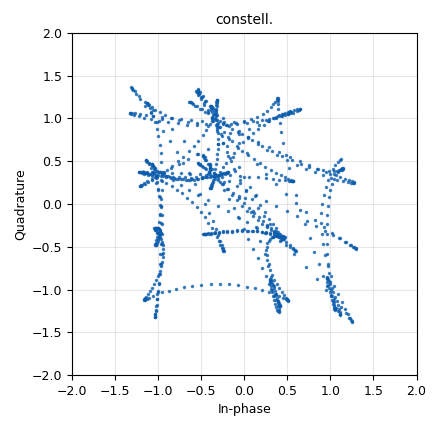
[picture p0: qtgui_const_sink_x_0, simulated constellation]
<?xml version='1.0' encoding='utf-8'?>
<?grc format='1' created='3.7.10'?>
<flow_graph>
<block>
<key>options</key>
<param><key>id</key><value>top_block</value></param>
<param><key>generate_options</key><value>qt_gui</value></param>
</block>
<block>
<key>variable</key>
<param><key>id</key><value>addr</value></param>
<param><key>value</key><value>"192.168.1.100"</value></param>
</block>
<block>
<key>variable_constellation</key>
<param><key>id</key><value>bpsk</value></param>
<param><key>const_points</key><value>[-1,1]</value></param>
<param><key>type</key><value>calcdist</value></param>
<param><key>dims</key><value>1</value></param>
<param><key>rot_sym</key><value>2</value></param>
<param><key>precision</key><value>8</value></param>
<param><key>sym_map</key><value>[0, 1,]</value></param>
</block>
<block>
<key>variable_qtgui_range</key>
<param><key>id</key><value>freq</value></param>
<param><key>value</key><value>0</value></param>
<param><key>_enabled</key><value>0</value></param>
<param><key>label</key><value>f</value></param>
<param><key>orient</key><value>Qt.Horizontal</value></param>
<param><key>start</key><value>0</value></param>
<param><key>step</key><value>0.100</value></param>
<param><key>stop</key><value>2</value></param>
</block>
<block>
<key>variable_qtgui_range</key>
<param><key>id</key><value>noise_volt</value></param>
<param><key>value</key><value>0.000100</value></param>
<param><key>_enabled</key><value>0</value></param>
<param><key>label</key><value>noise_voltage</value></param>
<param><key>orient</key><value>Qt.Horizontal</value></param>
<param><key>start</key><value>0</value></param>
<param><key>step</key><value>0.01</value></param>
<param><key>stop</key><value>1</value></param>
</block>
<block>
<key>variable_qtgui_check_box</key>
<param><key>id</key><value>ptt</value></param>
<param><key>value</key><value>False</value></param>
<param><key>false</key><value>False</value></param>
<param><key>gui_hint</key><value>0,0,1,1</value></param>
<param><key>true</key><value>True</value></param>
<param><key>type</key><value>int</value></param>
</block>
<block>
<key>variable_constellation</key>
<param><key>id</key><value>qam</value></param>
<param><key>const_points</key><value>[(-3-3j),(-1-3j),(1-3j),(3-3j),(-3-1j),(-1-1j),(1-1j),(3-1j),(-3+1j),(-1+1j),(1+1j),(3+1j),(-3+3j),(-1+3j),(1+3j),(3+3j)]</value></param>
<param><key>type</key><value>calcdist</value></param>
<param><key>dims</key><value>1</value></param>
<param><key>rot_sym</key><value>4</value></param>
<param><key>precision</key><value>8</value></param>
<param><key>sym_map</key><value>[0, 4, 12, 8, 1, 5, 13, 9, 3, 7, 15, 11, 2, 6, 14, 10]</value></param>
</block>
<block>
<key>variable_constellation_rect</key>
<param><key>id</key><value>qpsk</value></param>
<param><key>const_points</key><value>[-0.0707-0.0707j, -0.0707+0.0707j, 0.0707+0.0707j, 0.0707-0.0707j]</value></param>
<param><key>_enabled</key><value>0</value></param>
<param><key>imag_sect</key><value>2</value></param>
<param><key>real_sect</key><value>2</value></param>
<param><key>rot_sym</key><value>4</value></param>
<param><key>sym_map</key><value>[0, 1, 3, 2]</value></param>
<param><key>w_imag_sect</key><value>1</value></param>
<param><key>w_real_sect</key><value>1</value></param>
</block>
<block>
<key>variable_constellation</key>
<param><key>id</key><value>qpsk_0</value></param>
<param><key>const_points</key><value>[-1-1j, -1+1j, 1+1j, 1-1j]</value></param>
<param><key>type</key><value>calcdist</value></param>
<param><key>dims</key><value>1</value></param>
<param><key>rot_sym</key><value>4</value></param>
<param><key>precision</key><value>8</value></param>
<param><key>sym_map</key><value>[0, 1, 3, 2]</value></param>
</block>
<block>
<key>variable</key>
<param><key>id</key><value>rx_samp_rate</value></param>
<param><key>_enabled</key><value>0</value></param>
<param><key>value</key><value>100000</value></param>
</block>
<block>
<key>variable</key>
<param><key>id</key><value>samp_rate_0</value></param>
<param><key>_enabled</key><value>0</value></param>
<param><key>value</key><value>1000000</value></param>
</block>
<block>
<key>variable</key>
<param><key>id</key><value>tx_samp_rate</value></param>
<param><key>value</key><value>1250000</value></param>
</block>
<block>
<key>analog_random_source_x</key>
<param><key>id</key><value>analog_random_source_x_0</value></param>
<param><key>max</key><value>256</value></param>
<param><key>min</key><value>0</value></param>
<param><key>num_samps</key><value>1000</value></param>
<param><key>type</key><value>byte</value></param>
<param><key>repeat</key><value>True</value></param>
</block>
<block>
<key>blocks_unpacked_to_packed_xx</key>
<param><key>id</key><value>blocks_unpacked_to_packed_xx_0</value></param>
<param><key>bits_per_chunk</key><value>1</value></param>
<param><key>endianness</key><value>gr.GR_MSB_FIRST</value></param>
<param><key>type</key><value>byte</value></param>
</block>
<block>
<key>blocks_vector_source_x</key>
<param><key>id</key><value>blocks_vector_source_x_0</value></param>
<param><key>_enabled</key><value>0</value></param>
<param><key>type</key><value>byte</value></param>
<param><key>repeat</key><value>True</value></param>
<param><key>vector</key><value>(1,1,0,1,0,0,1,0,1,1,0,0,0,1,1,0,0,0,1,1,1,0,0,1,1,1,0,0,1,1)</value></param>
</block>
<block>
<key>digital_constellation_modulator</key>
<param><key>id</key><value>digital_constellation_modulator_0</value></param>
<param><key>constellation</key><value>qam</value></param>
<param><key>differential</key><value>False</value></param>
<param><key>excess_bw</key><value>0.9</value></param>
<param><key>samples_per_symbol</key><value>25</value></param>
</block>
<block>
<key>channels_channel_model</key>
<param><key>id</key><value>hudhd</value></param>
<param><key>_enabled</key><value>2</value></param>
<param><key>epsilon</key><value>1</value></param>
<param><key>freq_offset</key><value>0</value></param>
<param><key>noise_voltage</key><value>noise_volt</value></param>
<param><key>seed</key><value>0</value></param>
<param><key>taps</key><value>1</value></param>
</block>
<block>
<key>analog_sig_source_x</key>
<param><key>id</key><value>jjk</value></param>
<param><key>amp</key><value>1</value></param>
<param><key>_enabled</key><value>0</value></param>
<param><key>freq</key><value>1000</value></param>
<param><key>offset</key><value>0</value></param>
<param><key>type</key><value>complex</value></param>
<param><key>samp_rate</key><value>tx_samp_rate</value></param>
<param><key>waveform</key><value>analog.GR_COS_WAVE</value></param>
</block>
<block>
<key>qtgui_const_sink_x</key>
<param><key>id</key><value>qtgui_const_sink_x_0</value></param>
<param><key>name</key><value>constell.</value></param>
<param><key>size</key><value>1024</value></param>
<param><key>type</key><value>complex</value></param>
</block>
<block>
<key>qtgui_freq_sink_x</key>
<param><key>id</key><value>qtgui_freq_sink_x_0</value></param>
<param><key>bw</key><value>rx_samp_rate</value></param>
<param><key>fc</key><value>0</value></param>
<param><key>_enabled</key><value>0</value></param>
<param><key>fftsize</key><value>1024</value></param>
<param><key>gui_hint</key><value>1,0,1,1</value></param>
<param><key>name</key><value>QT GUI Plot</value></param>
<param><key>showports</key><value>True</value></param>
<param><key>type</key><value>complex</value></param>
<param><key>wintype</key><value>firdes.WIN_BLACKMAN_hARRIS</value></param>
</block>
<block>
<key>qtgui_sink_x</key>
<param><key>id</key><value>qtgui_sink_x_0</value></param>
<param><key>bw</key><value>samp_rate</value></param>
<param><key>fc</key><value>0</value></param>
<param><key>freqchangevar</key><value>None</value></param>
<param><key>_enabled</key><value>0</value></param>
<param><key>fftsize</key><value>1024</value></param>
<param><key>name</key><value>FFT</value></param>
<param><key>showports</key><value>True</value></param>
<param><key>type</key><value>complex</value></param>
<param><key>wintype</key><value>firdes.WIN_BLACKMAN_hARRIS</value></param>
</block>
<block>
<key>qtgui_time_sink_x</key>
<param><key>id</key><value>qtgui_time_sink_x_0</value></param>
<param><key>_enabled</key><value>0</value></param>
<param><key>color1</key><value>"blue"</value></param>
<param><key>label1</key><value></value></param>
<param><key>color2</key><value>"red"</value></param>
<param><key>label2</key><value></value></param>
<param><key>name</key><value>I-Q Signal</value></param>
<param><key>size</key><value>1024</value></param>
<param><key>srate</key><value>samp_rate</value></param>
<param><key>type</key><value>complex</value></param>
</block>
<block>
<key>qtgui_time_sink_x</key>
<param><key>id</key><value>qtgui_time_sink_x_0_1</value></param>
<param><key>_enabled</key><value>0</value></param>
<param><key>color1</key><value>"blue"</value></param>
<param><key>label1</key><value></value></param>
<param><key>color2</key><value>"red"</value></param>
<param><key>label2</key><value></value></param>
<param><key>name</key><value>I-Q Signal</value></param>
<param><key>size</key><value>1024</value></param>
<param><key>srate</key><value>samp_rate</value></param>
<param><key>type</key><value>complex</value></param>
</block>
<block>
<key>red_pitaya_wide_sink</key>
<param><key>id</key><value>red_pitaya_wide_sink_0</value></param>
<param><key>addr</key><value>str(addr)</value></param>
<param><key>freq</key><value>10e6</value></param>
<param><key>_enabled</key><value>0</value></param>
<param><key>corr</key><value>0</value></param>
<param><key>mask</key><value>3</value></param>
<param><key>ptt</key><value>ptt</value></param>
<param><key>port</key><value>1001</value></param>
<param><key>rate</key><value>tx_samp_rate</value></param>
</block>
<block>
<key>red_pitaya_wide_sink</key>
<param><key>id</key><value>red_pitaya_wide_sink_1</value></param>
<param><key>addr</key><value>192.168.1.100</value></param>
<param><key>freq</key><value>0</value></param>
<param><key>corr</key><value>0</value></param>
<param><key>mask</key><value>3</value></param>
<param><key>ptt</key><value>True</value></param>
<param><key>port</key><value>1001</value></param>
<param><key>rate</key><value>tx_samp_rate</value></param>
</block>
<block>
<key>red_pitaya_wide_source</key>
<param><key>id</key><value>red_pitaya_wide_source_0</value></param>
<param><key>addr</key><value>str(addr)</value></param>
<param><key>freq</key><value>0</value></param>
<param><key>_enabled</key><value>0</value></param>
<param><key>corr</key><value>0</value></param>
<param><key>mask</key><value>3</value></param>
<param><key>port</key><value>1001</value></param>
<param><key>rate</key><value>rx_samp_rate</value></param>
</block>
<connection><source_block_id>analog_random_source_x_0</source_block_id><sink_block_id>blocks_unpacked_to_packed_xx_0</sink_block_id><source_key>0</source_key><sink_key>0</sink_key></connection>
<connection><source_block_id>blocks_unpacked_to_packed_xx_0</source_block_id><sink_block_id>digital_constellation_modulator_0</sink_block_id><source_key>0</source_key><sink_key>0</sink_key></connection>
<connection><source_block_id>blocks_vector_source_x_0</source_block_id><sink_block_id>blocks_unpacked_to_packed_xx_0</sink_block_id><source_key>0</source_key><sink_key>0</sink_key></connection>
<connection><source_block_id>digital_constellation_modulator_0</source_block_id><sink_block_id>qtgui_const_sink_x_0</sink_block_id><source_key>0</source_key><sink_key>0</sink_key></connection>
<connection><source_block_id>digital_constellation_modulator_0</source_block_id><sink_block_id>red_pitaya_wide_sink_1</sink_block_id><source_key>0</source_key><sink_key>0</sink_key></connection>
<connection><source_block_id>jjk</source_block_id><sink_block_id>qtgui_time_sink_x_0_1</sink_block_id><source_key>0</source_key><sink_key>0</sink_key></connection>
<connection><source_block_id>jjk</source_block_id><sink_block_id>red_pitaya_wide_sink_0</sink_block_id><source_key>0</source_key><sink_key>0</sink_key></connection>
<connection><source_block_id>red_pitaya_wide_source_0</source_block_id><sink_block_id>qtgui_freq_sink_x_0</sink_block_id><source_key>0</source_key><sink_key>0</sink_key></connection>
</flow_graph>
